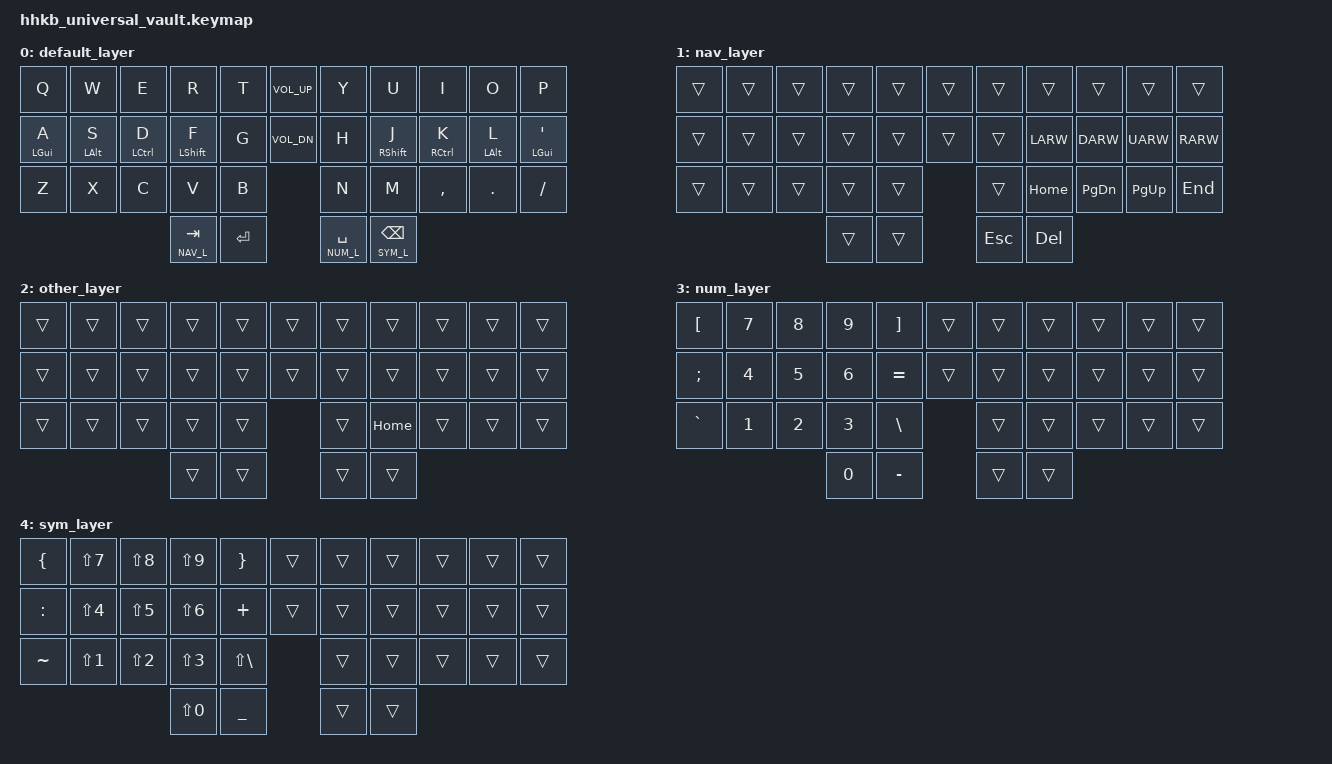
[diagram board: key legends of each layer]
/*
 * Copyright (c) 2020 The ZMK Contributors
 *
 * SPDX-License-Identifier: MIT
 */

#include <behaviors.dtsi>
#include <dt-bindings/zmk/keys.h>
#include <dt-bindings/zmk/bt.h>

#define NAV_L 1
#define OTHER_L 2
#define NUM_L 3
#define SYM_L 4

// Using layer taps on thumbs, having quick tap as well helps w/ repeating space/backspace
&lt { quick_tap_ms = <200>; };

/ {
    behaviors {
        hm: homerow_mods {
            compatible = "zmk,behavior-hold-tap";
            label = "homerow mods";
            #binding-cells = <2>;
            tapping_term_ms = <200>;
            flavor = "tap-preferred";
            bindings = <&kp>, <&kp>;
        };
    };

    keymap {
        compatible = "zmk,keymap";

        default_layer {
            bindings = <
                &kp Q      &kp W      &kp E       &kp R          &kp T           &kp C_VOL_UP  &kp Y            &kp U          &kp I       &kp O      &kp P
                &hm LGUI A &hm LALT S &hm LCTRL D &hm LSHFT F    &kp G           &kp C_VOL_DN  &kp H            &hm RSHFT J    &hm RCTRL K &hm LALT L &hm LGUI QUOT
                &kp Z      &kp X      &kp C       &kp V          &kp B                         &kp N            &kp M          &kp COMMA   &kp DOT    &kp FSLH
                                                  &lt NAV_L TAB  &kp ENTER                     &lt NUM_L SPACE  &lt SYM_L BKSP
            >;
        };

        nav_layer {
            bindings = <
                &trans     &trans     &trans      &trans          &trans         &trans        &trans           &trans         &trans      &trans     &trans
                &trans     &trans     &trans      &trans          &trans         &trans        &trans           &kp LARW       &kp DARW    &kp UARW   &kp RARW
                &trans     &trans     &trans      &trans          &trans                       &trans           &kp HOME       &kp PG_DN   &kp PG_UP  &kp END
                                                  &trans          &trans                       &kp ESC          &kp DEL
            >;
        };

        other_layer {
            bindings = <
                &trans     &trans     &trans      &trans          &trans         &trans        &trans           &trans         &trans      &trans     &trans
                &trans     &trans     &trans      &trans          &trans         &trans        &trans           &trans         &trans      &trans     &trans
                &trans     &trans     &trans      &trans          &trans                       &trans           &kp HOME       &trans      &trans     &trans
                                                  &trans          &trans                       &trans           &trans
            >;
        };

        num_layer {
            bindings = <
                &kp LBKT   &kp N7     &kp N8      &kp N9          &kp RBKT       &trans         &trans          &trans         &trans      &trans     &trans
                &kp SEMI   &kp N4     &kp N5      &kp N6          &kp EQUAL      &trans         &trans          &trans         &trans      &trans     &trans
                &kp GRAVE  &kp N1     &kp N2      &kp N3          &kp BSLH                      &trans          &trans         &trans      &trans     &trans
                                                  &kp N0          &kp MINUS                     &trans          &trans
            >;
        };

        sym_layer {
            bindings = <
                &kp LBRC      &kp LS(N7)  &kp LS(N8)  &kp LS(N9) &kp RBRC         &trans        &trans &trans   &trans    &trans    &trans
                &kp COLON     &kp LS(N4)  &kp LS(N5)  &kp LS(N6) &kp PLUS         &trans        &trans &trans   &trans    &trans    &trans
                &kp TILDE     &kp LS(N1)  &kp LS(N2)  &kp LS(N3) &kp LS(BSLH)                   &trans &trans   &trans    &trans    &trans
                                                   &kp LS(N0) &kp UNDER   &trans &trans
            >;
        };
    };
};
